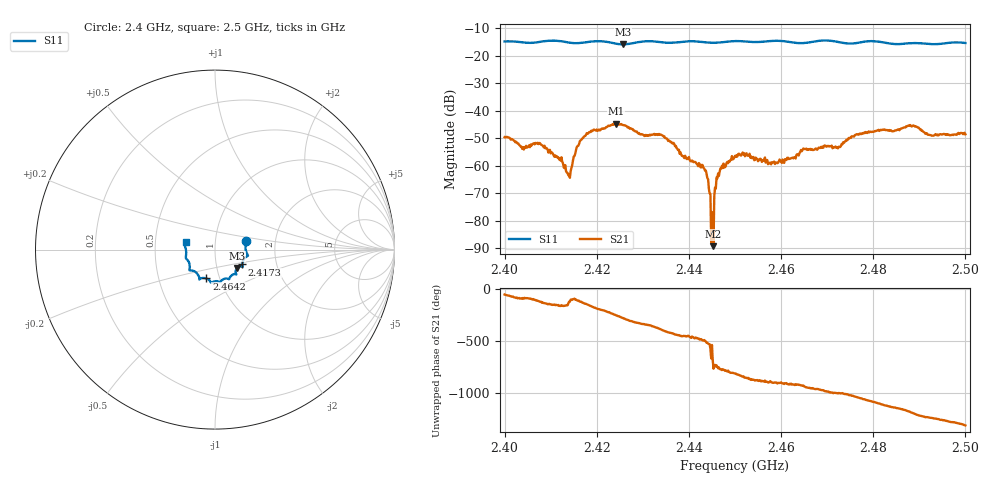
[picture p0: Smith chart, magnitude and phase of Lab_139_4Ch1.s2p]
# Hz S RI R 50
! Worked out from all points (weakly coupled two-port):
!   601 points, 2.4 GHz to 2.5 GHz, reference 50 ohm
!   highest |S21| = -44.79 dB at 2.4242 GHz (marker M1); lowest = -89.3 dB at 2.4453 GHz (marker M2)
!   lowest |S11| = -15.9 dB at 2.4257 GHz (marker M3), VSWR 1.38, Z = 62.4 - j13.1 ohm
!   |S11| at or under -10 dB: start of sweep to end of sweep
!   S12 and S22 are empty: the file has one direction only
!   S11 on the Smith chart (normalised r, x): 2.4 GHz: 1.41, +0.14; 2.4173 GHz: 1.34, -0.23; 2.4642 GHz: 0.86, -0.29; 2.5 GHz: 0.72, +0.06
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2.4e9  0.1737 0.0494  0.00194 -0.00267  0 0  0 0
2.404e9  0.1715 0.025  0.000124 -0.00216  0 0  0 0
2.408167e9  0.1787 -0.0225  -0.00161 -0.0017  0 0  0 0
2.413833e9  0.1669 -0.0453  -0.000497 -0.000445  0 0  0 0
2.416667e9  0.1528 -0.075  -0.00162 -0.00249  0 0  0 0
2.417333e9  0.1521 -0.0824  -0.00254 -0.00229  0 0  0 0
2.424167e9  0.1345 -0.0947  -0.00166 0.00552  0 0  0 0
2.425667e9  0.1224 -0.1024  0.000814 0.00541  0 0  0 0
2.433333e9  0.1126 -0.1365  0.00348 -0.00116  0 0  0 0
2.443333e9  0.0676 -0.1612  -0.000574 -0.00067  0 0  0 0
2.444167e9  0.0617 -0.1608  -0.000549 -0.000143  0 0  0 0
2.444833e9  0.0565 -0.1616  2.38e-05 3.24e-05  0 0  0 0
2.445333e9  0.0524 -0.1626  2.42e-05 -2.46e-05  0 0  0 0
2.4465e9  0.0434 -0.1669  0.000544 -0.000353  0 0  0 0
2.45e9  0.0294 -0.1807  -3.88e-05 -0.0015  0 0  0 0
2.457667e9  -0.0169 -0.1827  -0.00109 -0.000306  0 0  0 0
2.464167e9  -0.0482 -0.161  -0.00164 0.000711  0 0  0 0
2.466667e9  -0.0763 -0.1594  -0.00115 0.00164  0 0  0 0
2.483333e9  -0.1408 -0.0895  0.00304 -0.00306  0 0  0 0
2.488333e9  -0.1611 -0.0494  -0.00144 -0.00494  0 0  0 0
2.4925e9  -0.1606 -0.0199  -0.00328 -0.00141  0 0  0 0
2.5e9  -0.1638 0.0415  -0.00239 0.00283  0 0  0 0
